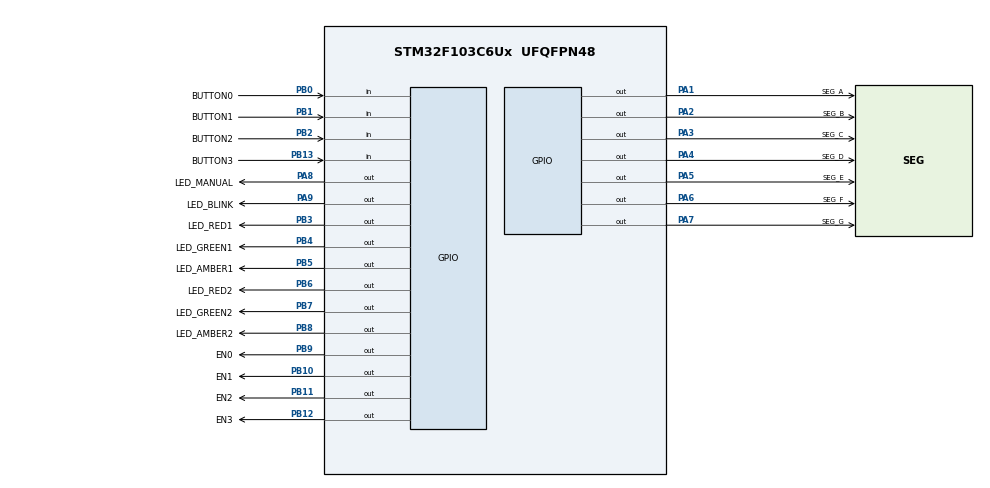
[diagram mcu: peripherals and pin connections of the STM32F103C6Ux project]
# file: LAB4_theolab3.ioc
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Mcu.Family=STM32F1
Mcu.Name=STM32F103C6Ux
Mcu.Package=UFQFPN48
NVIC.PriorityGroup=NVIC_PRIORITYGROUP_4
NVIC.TIM2_IRQn=true\:0\:0\:false\:false\:true\:true\:true
PA1.GPIO_Label=SEG_A
PA1.Signal=GPIO_Output
PA2.GPIO_Label=SEG_B
PA2.Signal=GPIO_Output
PA3.GPIO_Label=SEG_C
PA3.Signal=GPIO_Output
PA4.GPIO_Label=SEG_D
PA4.Signal=GPIO_Output
PA5.GPIO_Label=SEG_E
PA5.Signal=GPIO_Output
PA6.GPIO_Label=SEG_F
PA6.Signal=GPIO_Output
PA7.GPIO_Label=SEG_G
PA7.Signal=GPIO_Output
PA8.GPIO_Label=LED_MANUAL
PA8.Signal=GPIO_Output
PA9.GPIO_Label=LED_BLINK
PA9.Signal=GPIO_Output
PB0.GPIO_Label=BUTTON0
PB0.GPIO_PuPd=GPIO_PULLUP
PB0.Signal=GPIO_Input
PB1.GPIO_Label=BUTTON1
PB1.GPIO_PuPd=GPIO_PULLUP
PB1.Signal=GPIO_Input
PB10.GPIO_Label=EN1
PB10.Signal=GPIO_Output
PB11.GPIO_Label=EN2
PB11.Signal=GPIO_Output
PB12.GPIO_Label=EN3
PB12.Signal=GPIO_Output
PB13.GPIO_Label=BUTTON3
PB13.GPIO_PuPd=GPIO_PULLUP
PB13.Signal=GPIO_Input
PB2.GPIO_Label=BUTTON2
PB2.GPIO_PuPd=GPIO_PULLUP
PB2.Signal=GPIO_Input
PB3.GPIO_Label=LED_RED1
PB3.Signal=GPIO_Output
PB4.GPIO_Label=LED_GREEN1
PB4.Signal=GPIO_Output
PB5.GPIO_Label=LED_AMBER1
PB5.Signal=GPIO_Output
PB6.GPIO_Label=LED_RED2
PB6.Signal=GPIO_Output
PB7.GPIO_Label=LED_GREEN2
PB7.Signal=GPIO_Output
PB8.GPIO_Label=LED_AMBER2
PB8.Signal=GPIO_Output
PB9.GPIO_Label=EN0
PB9.Signal=GPIO_Output
ProjectManager.HeapSize=0x200
ProjectManager.StackSize=0x400
ProjectManager.TargetToolchain=STM32CubeIDE
RCC.APB1Freq_Value=8000000
RCC.APB2Freq_Value=8000000
TIM2.Period=8
TIM2.Prescaler=7999
VP_SYS_VS_ND.Mode=No_Debug
VP_TIM2_VS_ClockSourceINT.Mode=Internal
board=custom

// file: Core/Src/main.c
/* USER CODE BEGIN Header */
/**
  ******************************************************************************
  * @file           : main.c
  * @brief          : Main program body
  ******************************************************************************
  * @attention
  *
  * <h2><center>&copy; Copyright (c) 2025 STMicroelectronics.
  * All rights reserved.</center></h2>
  *
  * This software component is licensed by ST under BSD 3-Clause license,
  * the "License"; You may not use this file except in compliance with the
  * License. You may obtain a copy of the License at:
  *                        opensource.org/licenses/BSD-3-Clause
  *
  ******************************************************************************
  */
/* USER CODE END Header */
#include "main.h"

/* USER CODE BEGIN Includes */
#include "scheduler.h"
#include "task.h"
#include "software_timer.h"
#include "traffic_led.h"
#include "led_display.h"
#include "fsm.h"
#include "fsm_manual.h"
#include "button.h"
/* USER CODE END Includes */

TIM_HandleTypeDef htim2;

void SystemClock_Config(void);
static void MX_GPIO_Init(void);
static void MX_TIM2_Init(void);

int main(void)
{

  /* MCU Configuration--------------------------------------------------------*/

  /* Reset of all peripherals, Initializes the Flash interface and the Systick. */
  HAL_Init();

  /* Configure the system clock */
  SystemClock_Config();

  /* Initialize all configured peripherals */
  MX_GPIO_Init();
  MX_TIM2_Init();
  /* USER CODE BEGIN 2 */
  HAL_TIM_Base_Start_IT (&htim2 );
  button_Init();
  LED_TRAFFIC_STORE_BUFFER(5, 0);
  LED_TRAFFIC_STORE_BUFFER(2, 1);
  LED_TRAFFIC_STORE_BUFFER(3, 2);
  LED_TRAFFIC_LOAD_BUFFER();

  /* USER CODE END 2 */

  /* Infinite loop */
  /* USER CODE BEGIN WHILE */
  SCH_Init();
  TASK_Init();

  while (1)
  {

	  SCH_Dispatch_Tasks();
    /* USER CODE END WHILE */

  }
}

void SystemClock_Config(void)
{
  RCC_OscInitTypeDef RCC_OscInitStruct = {0};
  RCC_ClkInitTypeDef RCC_ClkInitStruct = {0};

  /** Initializes the RCC Oscillators according to the specified parameters
  * in the RCC_OscInitTypeDef structure.
  */
  RCC_OscInitStruct.OscillatorType = RCC_OSCILLATORTYPE_HSI;
  RCC_OscInitStruct.HSIState = RCC_HSI_ON;
  RCC_OscInitStruct.HSICalibrationValue = RCC_HSICALIBRATION_DEFAULT;
  RCC_OscInitStruct.PLL.PLLState = RCC_PLL_NONE;
  if (HAL_RCC_OscConfig(&RCC_OscInitStruct) != HAL_OK)
  {
    Error_Handler();
  }
  /** Initializes the CPU, AHB and APB buses clocks
  */
  RCC_ClkInitStruct.ClockType = RCC_CLOCKTYPE_HCLK|RCC_CLOCKTYPE_SYSCLK
                              |RCC_CLOCKTYPE_PCLK1|RCC_CLOCKTYPE_PCLK2;
  RCC_ClkInitStruct.SYSCLKSource = RCC_SYSCLKSOURCE_HSI;
  RCC_ClkInitStruct.AHBCLKDivider = RCC_SYSCLK_DIV1;
  RCC_ClkInitStruct.APB1CLKDivider = RCC_HCLK_DIV1;
  RCC_ClkInitStruct.APB2CLKDivider = RCC_HCLK_DIV1;

  if (HAL_RCC_ClockConfig(&RCC_ClkInitStruct, FLASH_LATENCY_0) != HAL_OK)
  {
    Error_Handler();
  }
}

static void MX_TIM2_Init(void)
{

  TIM_ClockConfigTypeDef sClockSourceConfig = {0};
  TIM_MasterConfigTypeDef sMasterConfig = {0};

  htim2.Instance = TIM2;
  htim2.Init.Prescaler = 7999;
  htim2.Init.CounterMode = TIM_COUNTERMODE_UP;
  htim2.Init.Period = 8;
  htim2.Init.ClockDivision = TIM_CLOCKDIVISION_DIV1;
  htim2.Init.AutoReloadPreload = TIM_AUTORELOAD_PRELOAD_DISABLE;
  if (HAL_TIM_Base_Init(&htim2) != HAL_OK)
  {
    Error_Handler();
  }
  sClockSourceConfig.ClockSource = TIM_CLOCKSOURCE_INTERNAL;
  if (HAL_TIM_ConfigClockSource(&htim2, &sClockSourceConfig) != HAL_OK)
  {
    Error_Handler();
  }
  sMasterConfig.MasterOutputTrigger = TIM_TRGO_RESET;
  sMasterConfig.MasterSlaveMode = TIM_MASTERSLAVEMODE_DISABLE;
  if (HAL_TIMEx_MasterConfigSynchronization(&htim2, &sMasterConfig) != HAL_OK)
  {
    Error_Handler();
  }

}

static void MX_GPIO_Init(void)
{
  GPIO_InitTypeDef GPIO_InitStruct = {0};

  /* GPIO Ports Clock Enable */
  __HAL_RCC_GPIOA_CLK_ENABLE();
  __HAL_RCC_GPIOB_CLK_ENABLE();

  /*Configure GPIO pin Output Level */
  HAL_GPIO_WritePin(GPIOA, SEG_A_Pin|SEG_B_Pin|SEG_C_Pin|SEG_D_Pin
                          |SEG_E_Pin|SEG_F_Pin|SEG_G_Pin|LED_MANUAL_Pin
                          |LED_BLINK_Pin, GPIO_PIN_RESET);

  /*Configure GPIO pin Output Level */
  HAL_GPIO_WritePin(GPIOB, EN1_Pin|EN2_Pin|EN3_Pin|LED_RED1_Pin
                          |LED_GREEN1_Pin|LED_AMBER1_Pin|LED_RED2_Pin|LED_GREEN2_Pin
                          |LED_AMBER2_Pin|EN0_Pin, GPIO_PIN_RESET);

  /*Configure GPIO pins : SEG_A_Pin SEG_B_Pin SEG_C_Pin SEG_D_Pin
                           SEG_E_Pin SEG_F_Pin SEG_G_Pin LED_MANUAL_Pin
                           LED_BLINK_Pin */
  GPIO_InitStruct.Pin = SEG_A_Pin|SEG_B_Pin|SEG_C_Pin|SEG_D_Pin
                          |SEG_E_Pin|SEG_F_Pin|SEG_G_Pin|LED_MANUAL_Pin
                          |LED_BLINK_Pin;
  GPIO_InitStruct.Mode = GPIO_MODE_OUTPUT_PP;
  GPIO_InitStruct.Pull = GPIO_NOPULL;
  GPIO_InitStruct.Speed = GPIO_SPEED_FREQ_LOW;
  HAL_GPIO_Init(GPIOA, &GPIO_InitStruct);

  /*Configure GPIO pins : BUTTON0_Pin BUTTON1_Pin BUTTON2_Pin BUTTON3_Pin */
  GPIO_InitStruct.Pin = BUTTON0_Pin|BUTTON1_Pin|BUTTON2_Pin|BUTTON3_Pin;
  GPIO_InitStruct.Mode = GPIO_MODE_INPUT;
  GPIO_InitStruct.Pull = GPIO_PULLUP;
  HAL_GPIO_Init(GPIOB, &GPIO_InitStruct);

  /*Configure GPIO pins : EN1_Pin EN2_Pin EN3_Pin LED_RED1_Pin
                           LED_GREEN1_Pin LED_AMBER1_Pin LED_RED2_Pin LED_GREEN2_Pin
                           LED_AMBER2_Pin EN0_Pin */
  GPIO_InitStruct.Pin = EN1_Pin|EN2_Pin|EN3_Pin|LED_RED1_Pin
                          |LED_GREEN1_Pin|LED_AMBER1_Pin|LED_RED2_Pin|LED_GREEN2_Pin
                          |LED_AMBER2_Pin|EN0_Pin;
  GPIO_InitStruct.Mode = GPIO_MODE_OUTPUT_PP;
  GPIO_InitStruct.Pull = GPIO_NOPULL;
  GPIO_InitStruct.Speed = GPIO_SPEED_FREQ_LOW;
  HAL_GPIO_Init(GPIOB, &GPIO_InitStruct);

}

/* USER CODE BEGIN 4 */
void HAL_TIM_PeriodElapsedCallback ( TIM_HandleTypeDef * htim )
{
	SCH_Update();
}
/* USER CODE END 4 */

void Error_Handler(void)
{
  __disable_irq();
  while (1)
  {
  }
}

/************************ (C) COPYRIGHT STMicroelectronics *****END OF FILE****/
